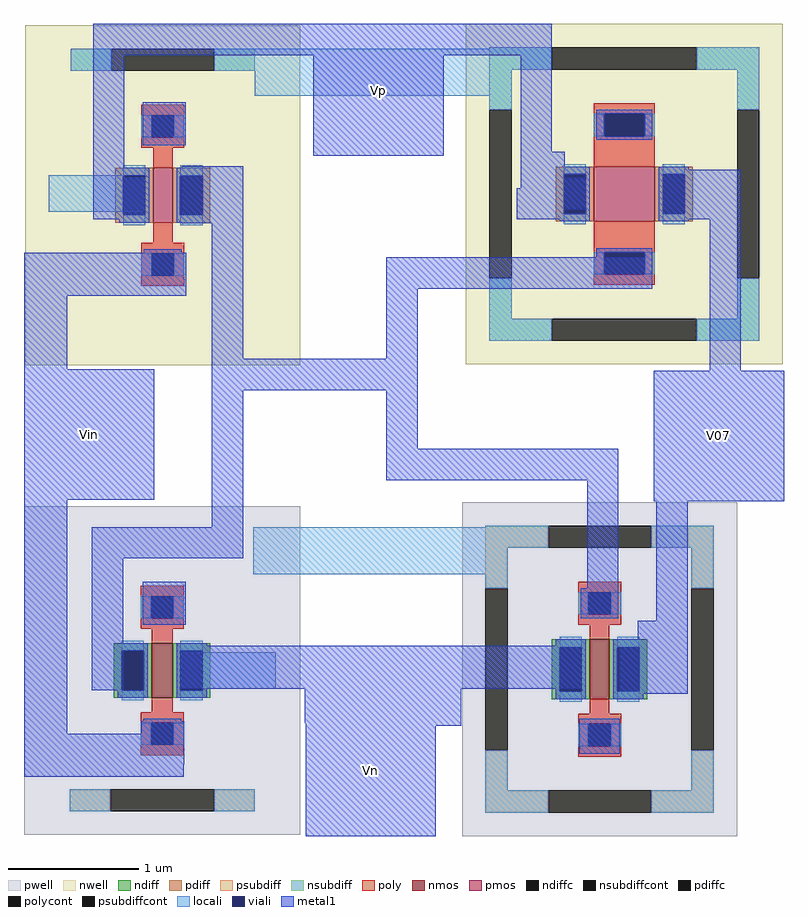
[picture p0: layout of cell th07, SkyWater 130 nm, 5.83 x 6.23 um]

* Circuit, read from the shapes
.subckt th07 Vp Vin V07 Vn
XM1 Vn Vin n1 VSUBS sky130_fd_pr__nfet_01v8 w=0.42 l=0.16
XM2 V07 n1 Vn VSUBS sky130_fd_pr__nfet_01v8 w=0.46 l=0.15
XM3 n1 Vin Vp n2 sky130_fd_pr__pfet_01v8 w=0.42 l=0.15
XM4 V07 n1 Vp n2 sky130_fd_pr__pfet_01v8 w=0.42 l=0.47
.ends

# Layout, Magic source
magic
tech sky130A
magscale 1 2
<< pwell >>
rect 400 -1066 448 -896
rect 476 -1180 542 -1114
<< locali >>
rect 650 -154 1040 -82
rect 334 -332 480 -276
rect 648 -888 1034 -816
rect 536 -1064 682 -1008
<< metal1 >>
rect 402 -92 1106 -44
rect 402 -280 450 -92
rect 478 -230 544 -164
rect 740 -246 940 -92
rect 1058 -240 1106 -92
rect 402 -342 484 -280
rect 402 -344 450 -342
rect 538 -350 632 -262
rect 1058 -280 1126 -240
rect 1058 -296 1158 -280
rect 1052 -328 1158 -296
rect 1052 -344 1126 -328
rect 1274 -344 1396 -268
rect 296 -461 545 -395
rect 296 -574 362 -461
rect 584 -558 632 -350
rect 852 -450 1260 -402
rect 852 -558 900 -450
rect 296 -774 496 -574
rect 584 -606 900 -558
rect 1348 -576 1396 -344
rect 296 -1133 362 -774
rect 584 -816 632 -606
rect 852 -696 900 -606
rect 852 -744 1208 -696
rect 400 -864 632 -816
rect 400 -1066 448 -864
rect 478 -966 544 -900
rect 1160 -954 1208 -744
rect 1262 -776 1462 -576
rect 1266 -960 1314 -776
rect 1238 -990 1314 -960
rect 536 -1064 1155 -998
rect 476 -1133 542 -1114
rect 727 -1117 967 -1064
rect 1210 -1072 1314 -990
rect 296 -1180 542 -1133
rect 728 -1121 967 -1117
rect 296 -1199 541 -1180
rect 728 -1290 928 -1121
rect 1148 -1164 1210 -1110
use sky130_fd_pr__nfet_01v8_VGVEGU  XM0
transform 1 0 508 0 1 -1036
box -212 -252 212 252
use sky130_fd_pr__pfet_01v8_EDPLE3  XM1
transform 1 0 509 0 1 -307
box -211 -261 211 261
use sky130_fd_pr__pfet_01v8_NZD9V2  XM2
transform 1 0 1217 0 1 -305
box -243 -261 243 261
use sky130_fd_pr__nfet_01v8_97T34Z  XM3
transform 1 0 1179 0 1 -1034
box -211 -256 211 256
<< labels >>
flabel metal1 740 -246 940 -46 0 FreeSans 256 0 0 0 Vp
port 0 nsew
flabel metal1 296 -774 496 -574 0 FreeSans 256 0 0 0 Vin
port 1 nsew
flabel metal1 728 -1290 928 -1090 0 FreeSans 256 0 0 0 Vn
port 3 nsew
flabel metal1 1262 -776 1462 -576 0 FreeSans 256 0 0 0 V07
port 2 nsew
<< end >>

# cell sky130_fd_pr__nfet_01v8_VGVEGU: kit device sky130_fd_pr__nfet_01v8, w 0.42 l 0.155 m 1 nf 1 diffcov 100 polycov 100 guard 1 glc 1 grc 1 gtc 1 gbc 1 tbcov 100 rlcov 100 topc 1 botc 1 poverlap 0 doverlap 1 lmin 0.15 wmin 0.42 compatible {sky130_fd_pr__nfet_01v8 sky130_fd_pr__nfet_01v8_lvt sky130_fd_bs_flash__special_sonosfet_star sky130_fd_pr__nfet_g5v0d10v5 sky130_fd_pr__nfet_05v0_nvt sky130_fd_pr__nfet_03v3_nvt} full_metal 1 viasrc 100 viadrn 100 viagate 100 viagb 0 viagr 0 viagl 0 viagt 0

# cell sky130_fd_pr__pfet_01v8_EDPLE3: kit device sky130_fd_pr__pfet_01v8, w 0.42 l 0.151 m 1 nf 1 diffcov 100 polycov 100 guard 1 glc 1 grc 1 gtc 1 gbc 1 tbcov 100 rlcov 100 topc 1 botc 1 poverlap 0 doverlap 1 lmin 0.15 wmin 0.42 compatible {sky130_fd_pr__pfet_01v8 sky130_fd_pr__pfet_01v8_lvt sky130_fd_pr__pfet_01v8_hvt sky130_fd_pr__pfet_g5v0d10v5} full_metal 1 viasrc 100 viadrn 100 viagate 100 viagb 0 viagr 0 viagl 0 viagt 0

# cell sky130_fd_pr__pfet_01v8_NZD9V2: kit device sky130_fd_pr__pfet_01v8, w 0.42 l 0.47 m 1 nf 1 diffcov 100 polycov 100 guard 1 glc 1 grc 1 gtc 1 gbc 1 tbcov 100 rlcov 100 topc 1 botc 1 poverlap 0 doverlap 1 lmin 0.15 wmin 0.42 compatible {sky130_fd_pr__pfet_01v8 sky130_fd_pr__pfet_01v8_lvt sky130_fd_pr__pfet_01v8_hvt sky130_fd_pr__pfet_g5v0d10v5} full_metal 1 viasrc 100 viadrn 100 viagate 100 viagb 0 viagr 0 viagl 0 viagt 0

# cell sky130_fd_pr__nfet_01v8_97T34Z: kit device sky130_fd_pr__nfet_01v8, w 0.46 l 0.15 m 1 nf 1 diffcov 100 polycov 100 guard 1 glc 1 grc 1 gtc 1 gbc 1 tbcov 100 rlcov 100 topc 1 botc 1 poverlap 0 doverlap 1 lmin 0.15 wmin 0.42 compatible {sky130_fd_pr__nfet_01v8 sky130_fd_pr__nfet_01v8_lvt sky130_fd_bs_flash__special_sonosfet_star sky130_fd_pr__nfet_g5v0d10v5 sky130_fd_pr__nfet_05v0_nvt sky130_fd_pr__nfet_03v3_nvt} full_metal 1 viasrc 100 viadrn 100 viagate 100 viagb 0 viagr 0 viagl 0 viagt 0
